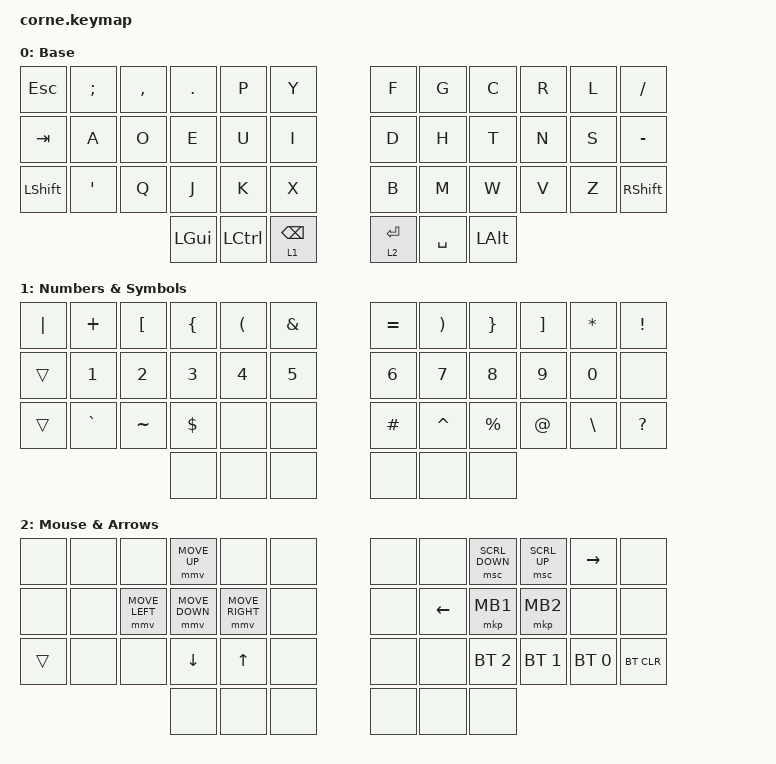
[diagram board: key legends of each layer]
/*
 * Copyright (c) 2020 The ZMK Contributors
 *
 * SPDX-License-Identifier: MIT
 */

#define ZMK_POINTING_DEFAULT_MOVE_VAL 1500 

#include <behaviors.dtsi>
#include <dt-bindings/zmk/keys.h>
#include <dt-bindings/zmk/bt.h>
#include <dt-bindings/zmk/pointing.h>

/ {
        keymap {
                compatible = "zmk,keymap";

                default_layer {
// -----------------------------------------------------------------------------------------
// |  TAB |  Q  |  W  |  E  |  R  |  T  |   |  Y  |  U   |  I  |  O  |  P  | BKSP |
// | CTRL |  A  |  S  |  D  |  F  |  G  |   |  H  |  J   |  K  |  L  |  ;  |  '   |
// | SHFT |  Z  |  X  |  C  |  V  |  B  |   |  N  |  M   |  ,  |  .  |  /  | ESC  |
//                    | GUI | LWR | SPC |   | ENT | RSE  | ALT |&kp LALT
                        display-name = "Base";
                        bindings = <
   &kp ESC   &kp SEMI &kp COMMA &kp DOT &kp P &kp Y   &kp F &kp G  &kp C     &kp R   &kp L    &kp FSLH
   &kp TAB &kp A &kp O &kp E &kp U &kp I   &kp D &kp H  &kp T     &kp N   &kp S &kp MINUS
   &kp LSHFT &kp SQT &kp Q &kp J &kp K &kp X   &kp B &kp M  &kp W &kp V &kp Z &kp RSHIFT
                  &kp LGUI &kp LCTRL &lt 1 BSPC   &lt 2 RET &kp SPACE &kp LALT
                        >;
                };
                lower_layer {
// -----------------------------------------------------------------------------------------
// |  TAB |  1  |  2  |  3  |  4  |  5  |   |  6  |  7  |  8  |  9  |  0  | BKSP |
// | BTCLR| BT1 | BT2 | BT3 | BT4 | BT5 |   | LFT | DWN |  UP | RGT |     |      |
// | SHFT |     |     |     |     |     |   |     |     |     |     |     |      |
//                    | GUI |     | SPC |   | ENT |     | ALT |
                        display-name = "Numbers & Symbols";
                        bindings = <
   &kp PIPE &kp PLUS &kp LBKT  &kp LBRC  &kp LPAR  &kp AMPS         &kp EQUAL  &kp RPAR   &kp RBRC   &kp RBKT &kp STAR    &kp EXCL 
   &trans &kp N1 &kp N2 &kp N3 &kp N4 &kp N5                               &kp N6 &kp N7 &kp N8 &kp N9 &kp N0 &none
   &trans  &kp GRAVE &kp TILDE &kp DOLLAR  &none   &none          &kp HASH &kp CARET &kp PERCENT &kp AT &kp BSLH &kp QMARK 
                                &none     &none    &none         &none  &none   &none 
                        >;
                };

                raise_layer {
// -----------------------------------------------------------------------------------------
// |  TAB |  !  |  @  |  #  |  $  |  %  |   |  ^  |  &  |  *  |  (  |  )  | BKSP |
// | CTRL |     |     |     |     |     |   |  -  |  =  |  [  |  ]  |  \  |  `   |
// | SHFT |     |     |     |     |     |   |  _  |  +  |  {  |  }  | "|" |  ~   |
//                    | GUI |     | SPC |   | ENT |     | ALT |  &mkp MB1 (left)  | MB2 (right) | &msc SCRL_UP
                        display-name = "Mouse & Arrows";
                        bindings = <
   &none &none &none &mmv MOVE_UP  &none   &none                      &none &none &msc SCRL_DOWN &msc SCRL_UP &kp RIGHT &none 
   &none &none &mmv MOVE_LEFT &mmv MOVE_DOWN &mmv MOVE_RIGHT &none    &none &kp LEFT &mkp MB1 &mkp MB2 &none &none
   &trans &none &none &kp DOWN &kp UP &none                           &none &none &bt BT_SEL 2 &bt BT_SEL 1 &bt BT_SEL 0 &bt BT_CLR
                         &none &none &none                          &none &none &none
                        >;
                };

                extra_1 {
                        status = "reserved";
                };

                extra_2 {
                        status = "reserved";
                };

                extra_3 {
                        status = "reserved";
                };
        };
};
